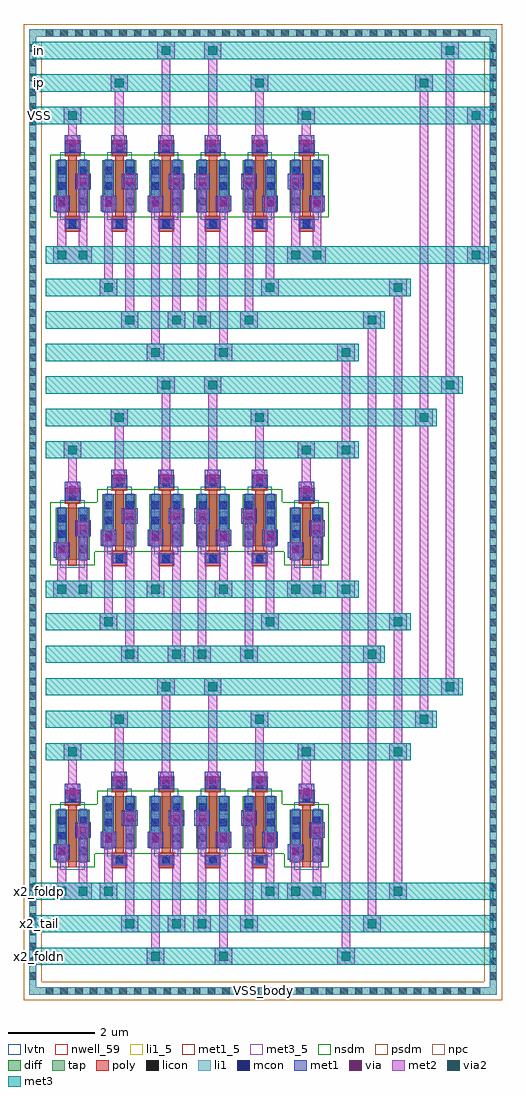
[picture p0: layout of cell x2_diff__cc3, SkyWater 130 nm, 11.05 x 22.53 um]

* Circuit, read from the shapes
.subckt x2_diff__cc3 VSS VSS_body in ip x2_foldn x2_foldp x2_tail
XM1 x2_foldp x2_foldp x2_foldp VSS_body sky130_fd_pr__nfet_01v8_lvt w=1.2 l=0.2 m=2
XM2 x2_foldn x2_foldn x2_foldn VSS_body sky130_fd_pr__nfet_01v8_lvt w=1.2 l=0.2 m=2
XM3 VSS VSS VSS VSS_body sky130_fd_pr__nfet_01v8_lvt w=1.2 l=0.2 m=2
XM4 x2_tail ip x2_foldp VSS_body sky130_fd_pr__nfet_01v8_lvt w=1.2 l=0.2 m=6
XM5 x2_tail in x2_foldn VSS_body sky130_fd_pr__nfet_01v8_lvt w=1.2 l=0.2 m=6
.ends

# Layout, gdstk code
from math import pi, radians
import gdstk
lib = gdstk.Library(unit=1e-6, precision=1e-09)
def R(c, l, rs):  # rectangles x0, y0, x1, y1
    for r in rs: c.add(gdstk.rectangle(r[:2], r[2:], *l))
def A(c, l, x, y, w, h, nx, ny, dx, dy):  # array of equal rectangles
    R(c, l, [(x+i*dx, y+j*dy, x+i*dx+w, y+j*dy+h) for i in range(nx) for j in range(ny)])
nwell_59 = (64, 59)
diff = (65, 20)
tap = (65, 44)
poly = (66, 20)
licon = (66, 44)
li1_5 = (67, 5)
li1 = (67, 20)
mcon = (67, 44)
met1_5 = (68, 5)
met1 = (68, 20)
via = (68, 44)
met2 = (69, 20)
via2 = (69, 44)
met3_5 = (70, 5)
met3 = (70, 20)
nsdm = (93, 44)
psdm = (94, 20)
npc = (95, 20)
lvtn = (125, 44)

sky130_fd_pr__nfet_01v8_ = lib.new_cell('sky130_fd_pr__nfet_01v8_lvt_CWMMG4')
R(sky130_fd_pr__nfet_01v8_, diff, [(-0.39,-0.755,0.39,0.445)])
R(sky130_fd_pr__nfet_01v8_, poly, [(-0.1,-0.885,0.1,0.555), (-0.165,0.555,0.165,0.885)])
A(sky130_fd_pr__nfet_01v8_, licon, -0.33, -0.58, 0.17, 0.17, 1, 3, 0, 0.34)
A(sky130_fd_pr__nfet_01v8_, licon, 0.16, -0.58, 0.17, 0.17, 1, 3, 0, 0.34)
R(sky130_fd_pr__nfet_01v8_, licon, [(-0.085,0.635,0.085,0.805)])
R(sky130_fd_pr__nfet_01v8_, li1, [(-0.33,-0.775,-0.16,0.465), (0.16,-0.775,0.33,0.465), (-0.165,0.635,0.165,0.805)])
A(sky130_fd_pr__nfet_01v8_, mcon, -0.33, -0.6, 0.17, 0.17, 1, 3, 0, 0.36)
A(sky130_fd_pr__nfet_01v8_, mcon, 0.16, -0.6, 0.17, 0.17, 1, 3, 0, 0.36)
R(sky130_fd_pr__nfet_01v8_, mcon, [(-0.085,0.635,0.085,0.805)])
R(sky130_fd_pr__nfet_01v8_, met1, [(-0.36,-0.755,-0.13,0.445), (0.13,-0.755,0.36,0.445), (-0.145,0.605,0.145,0.835)])
R(sky130_fd_pr__nfet_01v8_, nsdm, [(-0.515,-0.88,0.515,0.57)])
R(sky130_fd_pr__nfet_01v8_, npc, [(-0.185,0.535,0.185,0.905)])
R(sky130_fd_pr__nfet_01v8_, lvtn, [(-0.28,-0.935,0.28,0.625)])
sky130_fd_pr__nfet_01v8_.add(gdstk.Label('D', (-0.245,-0.155), layer=67, texttype=5))
sky130_fd_pr__nfet_01v8_.add(gdstk.Label('S', (0.245,-0.155), layer=67, texttype=5))
sky130_fd_pr__nfet_01v8_.add(gdstk.Label('G', (0,0.72), layer=67, texttype=5))

nfet_01v8_lvt_w1p2_l0p2_ = lib.new_cell('nfet_01v8_lvt_W1p2_L0p2_m2__nf1_gtop_sdfull_ng')
R(nfet_01v8_lvt_w1p2_l0p2_, nwell_59, [(0.05,0.68,0.15,0.78)])
R(nfet_01v8_lvt_w1p2_l0p2_, met1_5, [(0.03,0.73,0.26,0.93), (0.52,0.73,0.75,0.93), (0.205,1.49,0.575,1.72)])
R(nfet_01v8_lvt_w1p2_l0p2_, met1, [(0.03,0.73,0.26,0.93), (0.52,0.73,0.75,0.93), (0.205,1.49,0.575,1.72)])
nfet_01v8_lvt_w1p2_l0p2_.add(gdstk.Reference(sky130_fd_pr__nfet_01v8_, (0.39,0.885)))
nfet_01v8_lvt_w1p2_l0p2_.add(gdstk.Label('D', (0.145,0.83), layer=68, texttype=5))
nfet_01v8_lvt_w1p2_l0p2_.add(gdstk.Label('S', (0.635,0.83), layer=68, texttype=5))
nfet_01v8_lvt_w1p2_l0p2_.add(gdstk.Label('G', (0.39,1.605), layer=68, texttype=5))
nfet_01v8_lvt_w1p2_l0p2_.add(gdstk.Label('B', (0.1,0.73), layer=64, texttype=59))

c_sky130_fd_pr__nfet_01v8_ = lib.new_cell('sky130_fd_pr__nfet_01v8_lvt_A2K2V3')
R(c_sky130_fd_pr__nfet_01v8_, diff, [(-0.39,-0.6,0.39,0.6)])
R(c_sky130_fd_pr__nfet_01v8_, poly, [(-0.165,-1.04,0.165,-0.71), (-0.1,-0.71,0.1,0.71), (-0.165,0.71,0.165,1.04)])
A(c_sky130_fd_pr__nfet_01v8_, licon, -0.33, -0.425, 0.17, 0.17, 1, 3, 0, 0.34)
A(c_sky130_fd_pr__nfet_01v8_, licon, 0.16, -0.425, 0.17, 0.17, 1, 3, 0, 0.34)
R(c_sky130_fd_pr__nfet_01v8_, licon, [(-0.085,-0.96,0.085,-0.79), (-0.085,0.79,0.085,0.96)])
R(c_sky130_fd_pr__nfet_01v8_, li1, [(-0.165,-0.96,0.165,-0.79), (-0.33,-0.62,-0.16,0.62), (0.16,-0.62,0.33,0.62), (-0.165,0.79,0.165,0.96)])
A(c_sky130_fd_pr__nfet_01v8_, mcon, -0.33, -0.445, 0.17, 0.17, 1, 3, 0, 0.36)
A(c_sky130_fd_pr__nfet_01v8_, mcon, 0.16, -0.445, 0.17, 0.17, 1, 3, 0, 0.36)
R(c_sky130_fd_pr__nfet_01v8_, mcon, [(-0.085,-0.96,0.085,-0.79), (-0.085,0.79,0.085,0.96)])
R(c_sky130_fd_pr__nfet_01v8_, met1, [(-0.145,-0.99,0.145,-0.76), (-0.36,-0.6,-0.13,0.6), (0.13,-0.6,0.36,0.6), (-0.145,0.76,0.145,0.99)])
R(c_sky130_fd_pr__nfet_01v8_, nsdm, [(-0.515,-0.725,0.515,0.725)])
R(c_sky130_fd_pr__nfet_01v8_, npc, [(-0.185,-1.06,0.185,-0.69), (-0.185,0.69,0.185,1.06)])
R(c_sky130_fd_pr__nfet_01v8_, lvtn, [(-0.28,-0.78,0.28,0.78)])
c_sky130_fd_pr__nfet_01v8_.add(gdstk.Label('D', (-0.245,0), layer=67, texttype=5))
c_sky130_fd_pr__nfet_01v8_.add(gdstk.Label('S', (0.245,0), layer=67, texttype=5))
c_sky130_fd_pr__nfet_01v8_.add(gdstk.Label('G', (0,0.875), layer=67, texttype=5))

c_nfet_01v8_lvt_w1p2_l0p2_ = lib.new_cell('nfet_01v8_lvt_W1p2_L0p2_m6__nf1_gboth_sdfull_ng')
R(c_nfet_01v8_lvt_w1p2_l0p2_, nwell_59, [(0.05,0.99,0.15,1.09)])
R(c_nfet_01v8_lvt_w1p2_l0p2_, met1_5, [(0.03,1.04,0.26,1.24), (0.52,1.04,0.75,1.24), (0.205,1.8,0.575,2.03)])
R(c_nfet_01v8_lvt_w1p2_l0p2_, met1, [(0.205,0.05,0.575,0.28), (0.03,1.04,0.26,1.24), (0.52,1.04,0.75,1.24), (0.205,1.8,0.575,2.03)])
c_nfet_01v8_lvt_w1p2_l0p2_.add(gdstk.Reference(c_sky130_fd_pr__nfet_01v8_, (0.39,1.04)))
c_nfet_01v8_lvt_w1p2_l0p2_.add(gdstk.Label('D', (0.145,1.14), layer=68, texttype=5))
c_nfet_01v8_lvt_w1p2_l0p2_.add(gdstk.Label('S', (0.635,1.14), layer=68, texttype=5))
c_nfet_01v8_lvt_w1p2_l0p2_.add(gdstk.Label('G', (0.39,1.915), layer=68, texttype=5))
c_nfet_01v8_lvt_w1p2_l0p2_.add(gdstk.Label('B', (0.1,1.04), layer=64, texttype=59))

x2_diff__cc3 = lib.new_cell('x2_diff__cc3')
R(x2_diff__cc3, tap, [(-0.485,-2.935,10.315,-2.765), (-0.485,-2.765,-0.315,19.175), (10.145,-2.765,10.315,19.175), (-0.485,19.175,10.315,19.345)])
A(x2_diff__cc3, licon, -0.1, -2.935, 0.17, 0.17, 30, 2, 0.34, 22.11)
A(x2_diff__cc3, licon, -0.485, -2.59, 0.17, 0.17, 1, 64, 0, 0.34)
A(x2_diff__cc3, licon, 10.145, -2.59, 0.17, 0.17, 1, 64, 0, 0.34)
R(x2_diff__cc3, li1_5, [(4.865,-2.9,4.965,-2.8)])
R(x2_diff__cc3, li1, [(-0.485,-2.935,10.315,-2.765), (-0.485,-2.765,-0.315,19.175), (10.145,-2.765,10.315,19.175), (-0.485,19.175,10.315,19.345)])
A(x2_diff__cc3, met1, 1.415, 1.85, 0.36, 0.36, 4, 2, 1.08, 6.97)
A(x2_diff__cc3, met1, 0.09, 15.15, 0.36, 0.36, 3, 1, 1.08, 0)
A(x2_diff__cc3, met1, 3.82, 15.15, 0.36, 0.36, 3, 1, 1.08, 0)
A(x2_diff__cc3, met1, 0.58, 15.65, 0.36, 0.36, 3, 1, 1.08, 0)
A(x2_diff__cc3, met1, 3.33, 15.65, 0.36, 0.36, 3, 1, 1.08, 0)
A(x2_diff__cc3, met1, 0.335, 16.54, 0.36, 0.36, 6, 1, 1.08, 0)
R(x2_diff__cc3, met1, [(0.09,0.18,0.45,0.54), (5.49,0.18,5.85,0.54), (1.17,0.46,1.53,0.82), (2.25,0.46,2.61,0.82), (3.82,0.46,4.18,0.82), (4.9,0.46,5.26,0.82), (0.58,0.68,0.94,1.04), (5.98,0.68,6.34,1.04), (1.66,0.96,2.02,1.32), (2.74,0.96,3.1,1.32), (3.33,0.96,3.69,1.32), (4.41,0.96,4.77,1.32), (0.335,1.57,0.695,1.93), (5.735,1.57,6.095,1.93), (0.09,7.15,0.45,7.51), (5.49,7.15,5.85,7.51), (1.17,7.43,1.53,7.79), (2.25,7.43,2.61,7.79), (3.82,7.43,4.18,7.79), (4.9,7.43,5.26,7.79), (0.58,7.65,0.94,8.01), (5.98,7.65,6.34,8.01), (1.66,7.93,2.02,8.29), (2.74,7.93,3.1,8.29), (3.33,7.93,3.69,8.29), (4.41,7.93,4.77,8.29), (0.335,8.54,0.695,8.9), (5.735,8.54,6.095,8.9)])
A(x2_diff__cc3, via, 1.52, 1.955, 0.15, 0.15, 4, 2, 1.08, 6.97)
A(x2_diff__cc3, via, 0.195, 15.255, 0.15, 0.15, 3, 1, 1.08, 0)
A(x2_diff__cc3, via, 3.925, 15.255, 0.15, 0.15, 3, 1, 1.08, 0)
A(x2_diff__cc3, via, 0.685, 15.755, 0.15, 0.15, 3, 1, 1.08, 0)
A(x2_diff__cc3, via, 3.435, 15.755, 0.15, 0.15, 3, 1, 1.08, 0)
A(x2_diff__cc3, via, 0.44, 16.645, 0.15, 0.15, 6, 1, 1.08, 0)
R(x2_diff__cc3, via, [(0.195,0.285,0.345,0.435), (5.595,0.285,5.745,0.435), (1.275,0.565,1.425,0.715), (2.355,0.565,2.505,0.715), (3.925,0.565,4.075,0.715), (5.005,0.565,5.155,0.715), (0.685,0.785,0.835,0.935), (6.085,0.785,6.235,0.935), (1.765,1.065,1.915,1.215), (2.845,1.065,2.995,1.215), (3.435,1.065,3.585,1.215), (4.515,1.065,4.665,1.215), (0.44,1.675,0.59,1.825), (5.84,1.675,5.99,1.825), (0.195,7.255,0.345,7.405), (5.595,7.255,5.745,7.405), (1.275,7.535,1.425,7.685), (2.355,7.535,2.505,7.685), (3.925,7.535,4.075,7.685), (5.005,7.535,5.155,7.685), (0.685,7.755,0.835,7.905), (6.085,7.755,6.235,7.905), (1.765,8.035,1.915,8.185), (2.845,8.035,2.995,8.185), (3.435,8.035,3.585,8.185), (4.515,8.035,4.665,8.185), (0.44,8.645,0.59,8.795), (5.84,8.645,5.99,8.795)])
A(x2_diff__cc3, met2, 1.465, 1.87, 0.26, 0.32, 4, 2, 1.08, 6.97)
A(x2_diff__cc3, met2, 0.14, 15.17, 0.26, 0.32, 3, 1, 1.08, 0)
A(x2_diff__cc3, met2, 3.87, 15.17, 0.26, 0.32, 3, 1, 1.08, 0)
A(x2_diff__cc3, met2, 0.63, 15.67, 0.26, 0.32, 3, 1, 1.08, 0)
A(x2_diff__cc3, met2, 3.38, 15.67, 0.26, 0.32, 3, 1, 1.08, 0)
A(x2_diff__cc3, met2, 0.385, 16.56, 0.26, 0.32, 6, 1, 1.08, 0)
R(x2_diff__cc3, met2, [(2.23,-2.25,2.63,-1.85), (3.8,-2.25,4.2,-1.85), (6.63,-2.25,7.03,-1.85), (2.33,-1.85,2.53,0.48), (3.9,-1.85,4.1,0.48), (6.73,-1.85,6.93,6.22), (1.64,-1.5,2.04,-1.1), (2.72,-1.5,3.12,-1.1), (3.31,-1.5,3.71,-1.1), (4.39,-1.5,4.79,-1.1), (7.23,-1.5,7.63,-1.1), (1.74,-1.1,1.94,0.98), (2.82,-1.1,3.02,0.98), (3.41,-1.1,3.61,0.98), (4.49,-1.1,4.69,0.98), (7.33,-1.1,7.53,4.72), (0.07,-0.75,0.96,-0.35), (1.15,-0.75,1.55,-0.35), (4.88,-0.75,5.28,-0.35), (5.47,-0.75,6.36,-0.35), (7.83,-0.75,8.23,-0.35), (0.17,-0.35,0.37,0.2), (0.66,-0.35,0.86,0.7), (1.25,-0.35,1.45,0.48), (4.98,-0.35,5.18,0.48), (5.57,-0.35,5.77,0.2), (6.06,-0.35,6.26,0.7), (7.93,-0.35,8.13,2.47), (0.14,0.2,0.4,0.52), (5.54,0.2,5.8,0.52), (1.22,0.48,1.48,0.8), (2.3,0.48,2.56,0.8), (3.87,0.48,4.13,0.8), (4.95,0.48,5.21,0.8), (0.63,0.7,0.89,1.02), (6.03,0.7,6.29,1.02), (1.71,0.98,1.97,1.3), (2.79,0.98,3.05,1.3), (3.38,0.98,3.64,1.3), (4.46,0.98,4.72,1.3), (0.385,1.59,0.645,1.91), (5.785,1.59,6.045,1.91), (0.415,1.91,0.615,2.47), (5.815,1.91,6.015,2.47), (1.495,2.19,1.695,3.22), (2.575,2.19,2.775,3.97), (3.655,2.19,3.855,3.97), (4.735,2.19,4.935,3.22), (0.315,2.47,0.715,2.87), (5.715,2.47,6.115,2.87), (7.83,2.47,8.23,2.87), (7.93,2.87,8.13,5.47), (1.395,3.22,1.795,3.62), (4.635,3.22,5.035,3.62), (8.43,3.22,8.83,3.62), (8.53,3.62,8.73,10.19), (2.475,3.97,2.875,4.37), (3.555,3.97,3.955,4.37), (9.03,3.97,9.43,4.37), (9.13,4.37,9.33,10.94), (1.64,4.72,2.04,5.12), (2.72,4.72,3.12,5.12), (3.31,4.72,3.71,5.12), (4.39,4.72,4.79,5.12), (7.23,4.72,7.63,5.12), (1.74,5.12,1.94,7.95), (2.82,5.12,3.02,7.95), (3.41,5.12,3.61,7.95), (4.49,5.12,4.69,7.95), (7.33,5.12,7.53,12.44), (1.15,5.47,1.55,5.87), (4.88,5.47,5.28,5.87), (7.83,5.47,8.23,5.87), (1.25,5.87,1.45,7.45), (4.98,5.87,5.18,7.45), (7.93,5.87,8.13,13.19), (0.07,6.22,0.96,6.62), (2.23,6.22,2.63,6.62), (3.8,6.22,4.2,6.62), (5.47,6.22,6.36,6.62), (6.63,6.22,7.03,6.62), (0.17,6.62,0.37,7.17), (0.66,6.62,0.86,7.67), (2.33,6.62,2.53,7.45), (3.9,6.62,4.1,7.45), (5.57,6.62,5.77,7.17), (6.06,6.62,6.26,7.67), (6.73,6.62,6.93,9.44), (0.14,7.17,0.4,7.49), (5.54,7.17,5.8,7.49), (1.22,7.45,1.48,7.77), (2.3,7.45,2.56,7.77), (3.87,7.45,4.13,7.77), (4.95,7.45,5.21,7.77), (0.63,7.67,0.89,7.99), (6.03,7.67,6.29,7.99), (1.71,7.95,1.97,8.27), (2.79,7.95,3.05,8.27), (3.38,7.95,3.64,8.27), (4.46,7.95,4.72,8.27), (0.385,8.56,0.645,8.88), (5.785,8.56,6.045,8.88), (0.415,8.88,0.615,9.44), (5.815,8.88,6.015,9.44), (1.495,9.16,1.695,10.19), (2.575,9.16,2.775,10.94), (3.655,9.16,3.855,10.94), (4.735,9.16,4.935,10.19), (0.315,9.44,0.715,9.84), (5.715,9.44,6.115,9.84), (6.63,9.44,7.03,9.84), (6.73,9.84,6.93,11.69), (1.395,10.19,1.795,10.59), (4.635,10.19,5.035,10.59), (8.43,10.19,8.83,10.59), (8.53,10.59,8.73,17.91), (2.475,10.94,2.875,11.34), (3.555,10.94,3.955,11.34), (9.03,10.94,9.43,11.34), (9.13,11.34,9.33,18.66), (2.23,11.69,2.63,12.09), (3.8,11.69,4.2,12.09), (6.63,11.69,7.03,12.09), (2.33,12.09,2.53,15.17), (3.9,12.09,4.1,15.17), (1.64,12.44,2.04,12.84), (2.72,12.44,3.12,12.84), (3.31,12.44,3.71,12.84), (4.39,12.44,4.79,12.84), (7.23,12.44,7.63,12.84), (1.74,12.84,1.94,15.67), (2.82,12.84,3.02,15.67), (3.41,12.84,3.61,15.67), (4.49,12.84,4.69,15.67), (1.15,13.19,1.55,13.59), (4.88,13.19,5.28,13.59), (7.83,13.19,8.23,13.59), (1.25,13.59,1.45,15.17), (4.98,13.59,5.18,15.17), (0.07,13.94,0.96,14.34), (5.47,13.94,6.36,14.34), (9.63,13.94,10.03,14.34), (0.17,14.34,0.37,15.17), (0.66,14.34,0.86,15.67), (5.57,14.34,5.77,15.67), (6.06,14.34,6.26,15.17), (9.73,14.34,9.93,17.16), (0.415,16.88,0.615,17.16), (1.495,16.88,1.695,17.91), (2.575,16.88,2.775,18.66), (3.655,16.88,3.855,18.66), (4.735,16.88,4.935,17.91), (5.815,16.88,6.015,17.16), (0.315,17.16,0.715,17.56), (5.715,17.16,6.115,17.56), (9.63,17.16,10.03,17.56), (1.395,17.91,1.795,18.31), (4.635,17.91,5.035,18.31), (8.43,17.91,8.83,18.31), (2.475,18.66,2.875,19.06), (3.555,18.66,3.955,19.06), (9.03,18.66,9.43,19.06)])
R(x2_diff__cc3, via2, [(2.33,-2.15,2.53,-1.95), (3.9,-2.15,4.1,-1.95), (6.73,-2.15,6.93,-1.95), (1.74,-1.4,1.94,-1.2), (2.82,-1.4,3.02,-1.2), (3.41,-1.4,3.61,-1.2), (4.49,-1.4,4.69,-1.2), (7.33,-1.4,7.53,-1.2), (0.17,-0.65,0.37,-0.45), (0.66,-0.65,0.86,-0.45), (1.25,-0.65,1.45,-0.45), (4.98,-0.65,5.18,-0.45), (5.57,-0.65,5.77,-0.45), (6.06,-0.65,6.26,-0.45), (7.93,-0.65,8.13,-0.45), (0.415,2.57,0.615,2.77), (5.815,2.57,6.015,2.77), (7.93,2.57,8.13,2.77), (1.495,3.32,1.695,3.52), (4.735,3.32,4.935,3.52), (8.53,3.32,8.73,3.52), (2.575,4.07,2.775,4.27), (3.655,4.07,3.855,4.27), (9.13,4.07,9.33,4.27), (1.74,4.82,1.94,5.02), (2.82,4.82,3.02,5.02), (3.41,4.82,3.61,5.02), (4.49,4.82,4.69,5.02), (7.33,4.82,7.53,5.02), (1.25,5.57,1.45,5.77), (4.98,5.57,5.18,5.77), (7.93,5.57,8.13,5.77), (0.17,6.32,0.37,6.52), (0.66,6.32,0.86,6.52), (2.33,6.32,2.53,6.52), (3.9,6.32,4.1,6.52), (5.57,6.32,5.77,6.52), (6.06,6.32,6.26,6.52), (6.73,6.32,6.93,6.52), (0.415,9.54,0.615,9.74), (5.815,9.54,6.015,9.74), (6.73,9.54,6.93,9.74), (1.495,10.29,1.695,10.49), (4.735,10.29,4.935,10.49), (8.53,10.29,8.73,10.49), (2.575,11.04,2.775,11.24), (3.655,11.04,3.855,11.24), (9.13,11.04,9.33,11.24), (2.33,11.79,2.53,11.99), (3.9,11.79,4.1,11.99), (6.73,11.79,6.93,11.99), (1.74,12.54,1.94,12.74), (2.82,12.54,3.02,12.74), (3.41,12.54,3.61,12.74), (4.49,12.54,4.69,12.74), (7.33,12.54,7.53,12.74), (1.25,13.29,1.45,13.49), (4.98,13.29,5.18,13.49), (7.93,13.29,8.13,13.49), (0.17,14.04,0.37,14.24), (0.66,14.04,0.86,14.24), (5.57,14.04,5.77,14.24), (6.06,14.04,6.26,14.24), (9.73,14.04,9.93,14.24), (0.415,17.26,0.615,17.46), (5.815,17.26,6.015,17.46), (9.73,17.26,9.93,17.46), (1.495,18.01,1.695,18.21), (4.735,18.01,4.935,18.21), (8.53,18.01,8.73,18.21), (2.575,18.76,2.775,18.96), (3.655,18.76,3.855,18.96), (9.13,18.76,9.33,18.96)])
A(x2_diff__cc3, met3_5, -0.3, -2.1, 0.1, 0.1, 1, 3, 0, 0.75)
A(x2_diff__cc3, met3_5, -0.3, 17.31, 0.1, 0.1, 1, 3, 0, 0.75)
A(x2_diff__cc3, met3, -0.4, -2.25, 10.63, 0.4, 1, 3, 0, 0.75)
A(x2_diff__cc3, met3, -0.4, 17.16, 10.63, 0.4, 1, 3, 0, 0.75)
R(x2_diff__cc3, met3, [(-0.1,2.47,8.33,2.87), (-0.1,3.22,8.93,3.62), (-0.1,3.97,9.53,4.37), (-0.1,4.72,7.73,5.12), (-0.1,5.47,8.33,5.87), (-0.1,6.22,7.13,6.62), (-0.1,9.44,7.13,9.84), (-0.1,10.19,8.93,10.59), (-0.1,10.94,9.53,11.34), (-0.1,11.69,7.13,12.09), (-0.1,12.44,7.73,12.84), (-0.1,13.19,8.33,13.59), (-0.1,13.94,10.13,14.34)])
A(x2_diff__cc3, nsdm, 2.115, 0.315, 0.05, 1.45, 3, 2, 1.08, 6.97)
A(x2_diff__cc3, nsdm, 1.035, 15.005, 0.05, 1.45, 5, 1, 1.08, 0)
R(x2_diff__cc3, nsdm, [(1.035,0.315,1.085,1.455), (5.355,0.315,5.405,1.455), (1.035,7.285,1.085,8.425), (5.355,7.285,5.405,8.425)])
R(x2_diff__cc3, psdm, [(-0.61,-3.06,10.44,-2.64), (-0.61,-2.64,-0.19,19.05), (10.02,-2.64,10.44,19.05), (-0.61,19.05,10.44,19.47)])
x2_diff__cc3.add(gdstk.Reference(nfet_01v8_lvt_w1p2_l0p2_, (0.13,0)))
x2_diff__cc3.add(gdstk.Reference(c_nfet_01v8_lvt_w1p2_l0p2_, (1.21,0)))
x2_diff__cc3.add(gdstk.Reference(c_nfet_01v8_lvt_w1p2_l0p2_, (2.29,0)))
x2_diff__cc3.add(gdstk.Reference(c_nfet_01v8_lvt_w1p2_l0p2_, (4.15,0), rotation=pi, x_reflection=True))
x2_diff__cc3.add(gdstk.Reference(c_nfet_01v8_lvt_w1p2_l0p2_, (5.23,0), rotation=pi, x_reflection=True))
x2_diff__cc3.add(gdstk.Reference(nfet_01v8_lvt_w1p2_l0p2_, (5.53,0)))
x2_diff__cc3.add(gdstk.Reference(nfet_01v8_lvt_w1p2_l0p2_, (0.13,6.97)))
x2_diff__cc3.add(gdstk.Reference(c_nfet_01v8_lvt_w1p2_l0p2_, (1.21,6.97)))
x2_diff__cc3.add(gdstk.Reference(c_nfet_01v8_lvt_w1p2_l0p2_, (2.29,6.97)))
x2_diff__cc3.add(gdstk.Reference(c_nfet_01v8_lvt_w1p2_l0p2_, (4.15,6.97), rotation=pi, x_reflection=True))
x2_diff__cc3.add(gdstk.Reference(c_nfet_01v8_lvt_w1p2_l0p2_, (5.23,6.97), rotation=pi, x_reflection=True))
x2_diff__cc3.add(gdstk.Reference(nfet_01v8_lvt_w1p2_l0p2_, (5.53,6.97)))
x2_diff__cc3.add(gdstk.Reference(c_nfet_01v8_lvt_w1p2_l0p2_, (0.13,14.69)))
x2_diff__cc3.add(gdstk.Reference(c_nfet_01v8_lvt_w1p2_l0p2_, (1.21,14.69)))
x2_diff__cc3.add(gdstk.Reference(c_nfet_01v8_lvt_w1p2_l0p2_, (2.29,14.69)))
x2_diff__cc3.add(gdstk.Reference(c_nfet_01v8_lvt_w1p2_l0p2_, (4.15,14.69), rotation=pi, x_reflection=True))
x2_diff__cc3.add(gdstk.Reference(c_nfet_01v8_lvt_w1p2_l0p2_, (5.23,14.69), rotation=pi, x_reflection=True))
x2_diff__cc3.add(gdstk.Reference(c_nfet_01v8_lvt_w1p2_l0p2_, (6.31,14.69), rotation=pi, x_reflection=True))
x2_diff__cc3.add(gdstk.Label('VSS', (-0.25,17.36), layer=70, texttype=5))
x2_diff__cc3.add(gdstk.Label('ip', (-0.25,18.11), layer=70, texttype=5))
x2_diff__cc3.add(gdstk.Label('in', (-0.25,18.86), layer=70, texttype=5))
x2_diff__cc3.add(gdstk.Label('x2_foldp', (-0.25,-0.55), layer=70, texttype=5))
x2_diff__cc3.add(gdstk.Label('x2_tail', (-0.25,-1.3), layer=70, texttype=5))
x2_diff__cc3.add(gdstk.Label('x2_foldn', (-0.25,-2.05), layer=70, texttype=5))
x2_diff__cc3.add(gdstk.Label('VSS_body', (4.915,-2.85), layer=67, texttype=5))

lib.write_gds('x2_diff__cc3.gds')
